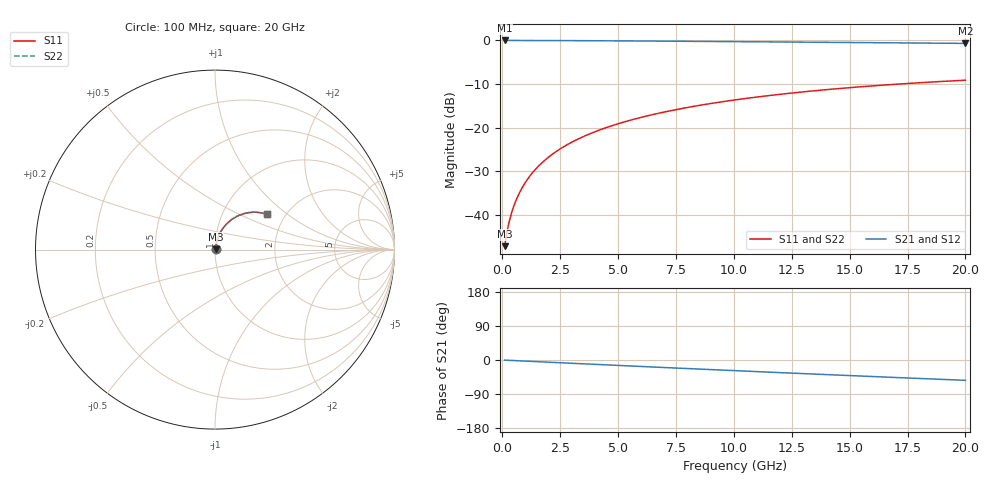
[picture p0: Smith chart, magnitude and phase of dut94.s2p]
! Touchstone file exported from HFSS 2026.1.0
!  File:  C:/ffzhzh/LocalFiles/Ansys_Project_Files/temp_train_BSMRDL_94_1782883296_13352.aedt
!  Generated:  01:23:07 PM Jul  1, 2026
!  Design:  BSMRDL
!  Project:  temp_train_BSMRDL_94_1782883296_13352
! Variables:
!  h_bsmrdl = 4.21um
!  h_ox = 20um
!  h_rdl = 5um
!  h_sub = 80um
!  h_tmrdl = 5um
!  h_tsv = 80um
!  h_via = 3um
!  l_bsmrdl = 885.16um
!  l_sub = 1285.16um
!  l_tmrdl = 200um
!  m_sub = 200um
!  pitch = 39.58um
!  r_tsv = 6um
!  s_tmrdl = 10um
!  w_bsmrdl = 22.61um
!  w_sub = 500um
!  w_tmrdl = 12um
!  x_tsv_center1 = 206um
!  x_tsv_center2 = 1113.77um
!  x_tsv_center3 = 1325.77um
!  x_tsv_center4 = 2233.54um
!  x_tsv_center5 = 2445.54um
!  x_tsv_center6 = 3353.31um
# GHz S MA R 50.000000
! Terminal data exported
! Port[1] = BSM_RDL1_1_T1
! Port[2] = BSM_RDL1_1_T2
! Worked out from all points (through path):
!   200 points, 100 MHz to 20 GHz, reference 50 ohm
!   highest |S21| = -0.03 dB at 100 MHz (marker M1); lowest = -0.7 dB at 20 GHz (marker M2)
!   group delay of S21, straight-line fit = 7.44 ps
!   lowest |S11| = -47.1 dB at 100 MHz (marker M3), VSWR 1.01, Z = 50.4 + j0.267 ohm
!   |S11| at or under -10 dB: start of sweep to 17.15 GHz
!   |S22| runs from -47.1 to -9.1 dB; largest |S21 - S12| = 4.9e-14
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0.1  0.004406 37.0  0.9965 -0.3  0.9965 -0.3  0.004406 37.0
! Gamma 0 0 0 0
! Port Impedance 50 0 50 0
0.2  0.006382 53.2  0.9962 -0.6  0.9962 -0.6  0.006382 53.2
0.3  0.008483 60.9  0.996 -0.9  0.996 -0.9  0.008483 60.9
0.4  0.0106 65.6  0.9958 -1.2  0.9958 -1.2  0.0106 65.6
0.5  0.01273 68.8  0.9956 -1.5  0.9956 -1.5  0.01273 68.8
0.6  0.01489 71.1  0.9955 -1.8  0.9955 -1.8  0.01489 71.1
0.8  0.01927 74.1  0.9953 -2.3  0.9953 -2.3  0.01927 74.1
1.1  0.02594 76.3  0.995 -3.2  0.995 -3.2  0.02594 76.4
1.3  0.03041 77.1  0.9947 -3.8  0.9947 -3.8  0.03041 77.1
1.6  0.03714 77.6  0.9943 -4.7  0.9943 -4.7  0.03714 77.6
2.1  0.04833 77.5  0.9935 -6.1  0.9935 -6.1  0.04833 77.6
2.7  0.06165 76.7  0.9923 -7.8  0.9923 -7.8  0.06165 76.8
3.5  0.07913 75.1  0.9903 -10.1  0.9903 -10.1  0.07913 75.2
4.2  0.09414 73.5  0.9883 -12.1  0.9883 -12.1  0.09413 73.5
5  0.1109 71.5  0.9858 -14.3  0.9858 -14.3  0.1109 71.5
5.9  0.1294 69.2  0.9828 -16.8  0.9828 -16.8  0.1294 69.3
6.8  0.1473 66.9  0.9795 -19.3  0.9795 -19.3  0.1473 67.0
8.3  0.1761 63.1  0.9737 -23.4  0.9737 -23.4  0.1761 63.1
10.1  0.2089 58.5  0.9662 -28.3  0.9662 -28.3  0.2089 58.6
13.4  0.2635 50.1  0.9515 -37.0  0.9515 -37.0  0.2634 50.3
16.7  0.3105 42.0  0.9366 -45.4  0.9366 -45.4  0.3104 42.1
20  0.3495 34.0  0.9224 -53.7  0.9224 -53.7  0.3495 34.2
